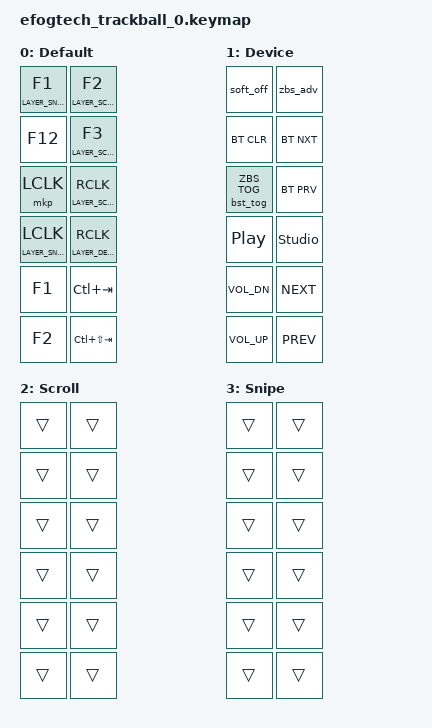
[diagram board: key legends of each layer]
#include <behaviors.dtsi>
#include <dt-bindings/zmk/bt.h>
#include <dt-bindings/zmk/keys.h>
#include <dt-bindings/zmk/pointing.h>
#include <dt-bindings/zmk/outputs.h>
#include <dt-bindings/zmk/adaptive_feedback.h>
#include <dt-bindings/zmk/bistable_behavior.h>
#include <dt-bindings/zmk/p2sm.h>

#ifndef LAYER_DEFAULT
#define LAYER_DEFAULT      0
#define LAYER_DEVICE       1
#define LAYER_SCROLL       2
#define LAYER_SNIPE        3
#endif

#define ENC_SCROLL sensor-bindings = <&scroll_encoder &rotenc_follower 9 11>

/ {
	keymap {
		compatible = "zmk,keymap";

		default_layer {
			display-name = "Default";
			DECLARE_ENCODERS;
			bindings = <
				// buttons
				&ltmkp LAYER_SNIPE F1     &ltmkp LAYER_SCROLL F2
				&kp F12                   &ltmkp LAYER_SCROLL F3
				&mkp LCLK                 &ltm LAYER_SCROLL RCLK
				&ltm LAYER_SNIPE LCLK     &ltm LAYER_DEVICE RCLK

				// rotary encoders (left = F1/F2, right = tab switching)
				&kp F1                    &kp LC(TAB)
				&kp F2                    &kp LC(LS(TAB))
			>;
		};

		layer1 {
			display-name = "Device";
			DECLARE_ENCODERS;
			bindings = <
				&soft_off          &zbs_adv
				&bt BT_CLR         &bt BT_NXT
				&bst_tog ZBS_TOG   &bt BT_PRV
				&kp C_PP           &studio_unlock

				&kp C_VOL_DN       &kp C_NEXT
				&kp C_VOL_UP       &kp C_PREV
			>;
		};

		layer2 {
			display-name = "Scroll";
			DECLARE_ENCODERS;
			bindings = <
				&trans              &trans
				&trans              &trans
				&trans              &trans
				&trans              &trans

				&trans              &trans
				&trans              &trans
			>;
		};

		layer3 {
			display-name = "Snipe";
			ENC_SCROLL;
			bindings = <
				&trans           &trans
				&trans           &trans
				&trans           &trans
				&trans           &trans

				&trans           &trans
				&trans           &trans
			>;
		};
	};

	behaviors {
		scroll_encoder: scroll_encoder {
			compatible = "zmk,behavior-sensor-rotate";
			#sensor-binding-cells = <0>;
			bindings = <&msc SCRL_UP>, <&msc SCRL_DOWN>;
		};
	};

	trackball {
		input-processors = <&zip_bistable_twist_scaler>,
						   <&zip_pointer_accel>, <&zip_scroll_accel>, <&zip_rotate_pointer>,
		                   <&esb_ip>, <&zip_ble_report_rate_limit>;

		scroll {
			layers = <LAYER_SCROLL>;
			input-processors = <&zip_bistable_scroll_xy_scaler>, <&zip_bistable_scroll_x_scaler>, <&zip_axis_clamper>,
							   <&zip_xy_to_scroll_mapper>, <&zip_scroll_transform INPUT_TRANSFORM_Y_INVERT>,
							   <&zip_dragscroll_accel>, <&zip_rotate_scroll>,
							   <&esb_ip>, <&zip_ble_report_rate_limit>;
		};

		snipe {
			layers = <LAYER_SNIPE>;
			input-processors = <&zip_bistable_snipe_scaler>, <&zip_rotate_pointer>,
							   <&esb_ip>, <&zip_ble_report_rate_limit>;
		};
	};
};
